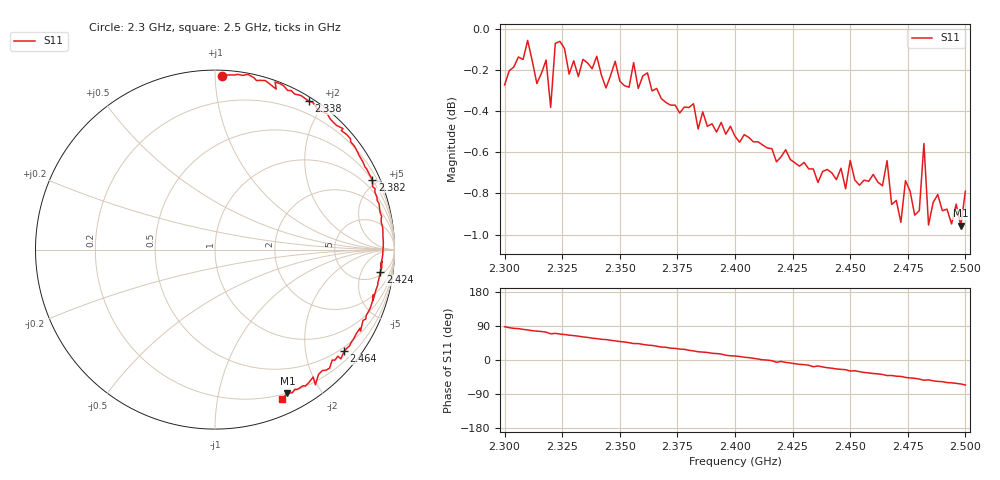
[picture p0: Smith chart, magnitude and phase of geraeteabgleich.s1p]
! NanoVNA-F V2; see metadata.json and serial.json
# HZ S RI R 50
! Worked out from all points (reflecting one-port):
!   101 points, 2.3 GHz to 2.5 GHz, reference 50 ohm
!   lowest |S11| = -1.0 dB at 2.498 GHz (marker M1), VSWR 18.18, Z = 9.94 - j80.4 ohm
!   phase of S11 starts at 88 deg and turns -154 deg over the sweep
!   S11 on the Smith chart (normalised r, x): 2.3 GHz: 0.03, +1.04; 2.338 GHz: 0.05, +1.82; 2.382 GHz: 0.48, +4.65; 2.424 GHz: 6, -11; 2.464 GHz: 0.40, -2.84; 2.5 GHz: 0.15, -1.53
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2.3e9  0.0363 0.9684
2.31e9  0.1826 0.9766
2.318e9  0.2806 0.9418
2.32e9  0.341 0.8942
2.322e9  0.3347 0.9337
2.326e9  0.3831 0.9118
2.338e9  0.5231 0.8262
2.35e9  0.6405 0.73
2.376e9  0.8358 0.4598
2.382e9  0.8758 0.3906
2.4e9  0.9257 0.1729
2.416e9  0.9347 -0.0288
2.418e9  0.9231 -0.098
2.42e9  0.9287 -0.064
2.424e9  0.9208 -0.1269
2.426e9  0.914 -0.1592
2.434e9  0.88 -0.2835
2.436e9  0.8829 -0.2501
2.448e9  0.8249 -0.3945
2.45e9  0.8107 -0.4536
2.452e9  0.808 -0.4376
2.464e9  0.7197 -0.5665
2.476e9  0.6182 -0.6721
2.48e9  0.5769 -0.695
2.482e9  0.5594 -0.7528
2.484e9  0.547 -0.7097
2.498e9  0.4039 -0.7995
2.5e9  0.3713 -0.8342
